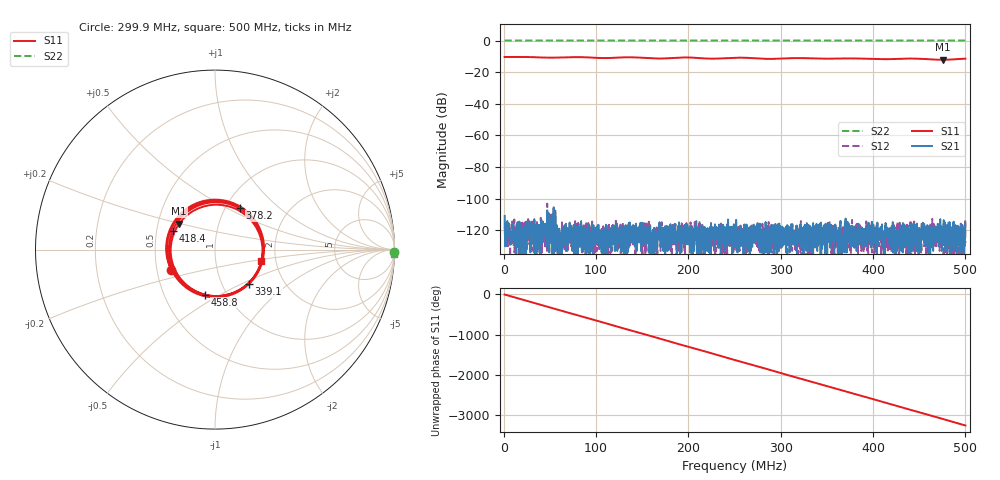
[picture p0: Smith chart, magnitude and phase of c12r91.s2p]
! MS46122B
! 1746301/73750021
! 11/3/2023 2:26:20 PM
! C:\USERS\SPEGWAL\DOWNLOADS\SAURABH\REACH\NODES\FRONT END\MEASUREMENTS\MEASURED S-PARAMETERS_03-11-2023\MS3-MS4_MS1_CABLE\91OHMS_SOURCE_S11.S2P
! CHANNEL.1
! TR.MEASUREMENT
! CORRECTED.DATA
# GHZ S RI R 50.0
! FREQ.GHZ  S11RE  S11IM  S21RE  S21IM  S12RE  S12IM  S22RE  S22IM
!; PortSelection: Port_12
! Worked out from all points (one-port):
!   2001 points, 1 MHz to 500 MHz, reference 50 ohm
!   lowest |S11| = -12.2 dB at 475.8 MHz (marker M1), VSWR 1.65, Z = 32.2 + j9.86 ohm
!   |S11| at or under -10 dB: start of sweep to end of sweep
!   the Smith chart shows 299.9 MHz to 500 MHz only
!   S11 on the Smith chart (normalised r, x): 299.9 MHz: 0.60, -0.15; 339.1 MHz: 1.33, -0.55; 378.2 MHz: 1.17, +0.59; 418.4 MHz: 0.61, +0.14; 458.8 MHz: 0.80, -0.43; 500 MHz: 1.68, -0.23
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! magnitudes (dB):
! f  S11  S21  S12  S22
! 1 MHz  -10.4  -110.9  -118.7  0.0
! 50.4 MHz  -10.8  -113.4  -119.5  0.0
! 84.33 MHz  -10.5  -124.7  -121.0  0.0
! 108.8 MHz  -11.1  -127.7  -120.1  0.0
! 138.5 MHz  -10.6  -118.3  -121.3  0.0
! 167.4 MHz  -11.4  -120.0  -122.8  0.0
! 194.9 MHz  -10.7  -123.9  -124.7  0.0
! 225.1 MHz  -11.5  -126.0  -121.0  0.0
! 250.5 MHz  -10.9  -130.5  -118.9  0.0
! 262.5 MHz  -10.9  -119.1  -120.0  0.0
! 284.9 MHz  -11.6  -117.0  -125.4  0.0
! 299.9 MHz  -11.4  -127.4  -118.9  0.0
! 316.4 MHz  -11.1  -122.8  -124.9  0.0
! 333.8 MHz  -11.3  -121.9  -117.7  0.0
! 339.1 MHz  -11.4  -118.4  -120.1  0.0
! 378.2 MHz  -11.3  -128.0  -118.2  0.0
! 416.9 MHz  -11.8  -124.7  -123.1  0.0
! 418.4 MHz  -11.8  -120.5  -124.3  0.0
! 440.4 MHz  -11.4  -124.7  -117.4  0.0
! 458.8 MHz  -11.8  -116.7  -119.8  0.0
! 475.8 MHz  -12.2  -122.8  -127.0  0.0
! 500 MHz  -11.5  -115.7  -128.0  0.0
